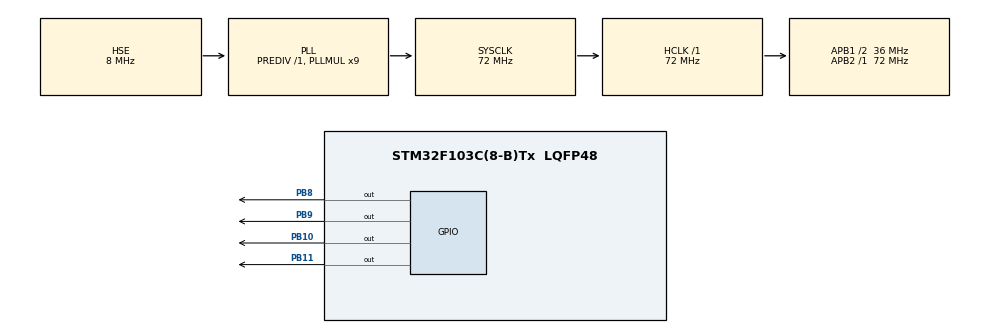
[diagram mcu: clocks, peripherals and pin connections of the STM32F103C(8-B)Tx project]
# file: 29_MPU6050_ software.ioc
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Mcu.Family=STM32F1
Mcu.Name=STM32F103C(8-B)Tx
Mcu.Package=LQFP48
NVIC.PriorityGroup=NVIC_PRIORITYGROUP_4
PA13.Mode=Serial_Wire
PA13.Signal=SYS_JTMS-SWDIO
PA14.Mode=Serial_Wire
PA14.Signal=SYS_JTCK-SWCLK
PB10.GPIO_ModeDefaultOutputPP=GPIO_MODE_OUTPUT_OD
PB10.GPIO_PuPd=GPIO_NOPULL
PB10.Signal=GPIO_Output
PB11.GPIO_ModeDefaultOutputPP=GPIO_MODE_OUTPUT_OD
PB11.GPIO_PuPd=GPIO_NOPULL
PB11.Signal=GPIO_Output
PB8.Signal=GPIO_Output
PB9.Signal=GPIO_Output
PD0-OSC_IN.Mode=HSE-External-Oscillator
PD0-OSC_IN.Signal=RCC_OSC_IN
PD1-OSC_OUT.Mode=HSE-External-Oscillator
PD1-OSC_OUT.Signal=RCC_OSC_OUT
ProjectManager.HeapSize=0x200
ProjectManager.StackSize=0x400
ProjectManager.TargetToolchain=MDK-ARM V5.32
RCC.AHBFreq_Value=72000000
RCC.APB1CLKDivider=RCC_HCLK_DIV2
RCC.APB1Freq_Value=36000000
RCC.APB1TimFreq_Value=72000000
RCC.APB2Freq_Value=72000000
RCC.APB2TimFreq_Value=72000000
RCC.HCLKFreq_Value=72000000
RCC.PLLMUL=RCC_PLL_MUL9
RCC.PLLSourceVirtual=RCC_PLLSOURCE_HSE
RCC.SYSCLKFreq_VALUE=72000000
RCC.SYSCLKSource=RCC_SYSCLKSOURCE_PLLCLK
RCC.USBFreq_Value=72000000
board=custom

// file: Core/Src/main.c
/* USER CODE BEGIN Header */
/**
 ******************************************************************************
 * @file           : main.c
 * @brief          : Main program body
 ******************************************************************************
 * @attention
 *
 * Copyright (c) 2026 STMicroelectronics.
 * All rights reserved.
 *
 * This software is licensed under terms that can be found in the LICENSE file
 * in the root directory of this software component.
 * If no LICENSE file comes with this software, it is provided AS-IS.
 *
 ******************************************************************************
 */
/* USER CODE END Header */
#include "main.h"
#include "gpio.h"

/* USER CODE BEGIN Includes */
#include "MPU6050.h"
#include "OLED.h"
#include "MyI2C.h"

/* USER CODE END Includes */

void SystemClock_Config(void);

int main(void)
{

  /* MCU Configuration--------------------------------------------------------*/

  /* Reset of all peripherals, Initializes the Flash interface and the Systick. */
  HAL_Init();

  /* Configure the system clock */
  SystemClock_Config();

  /* Initialize all configured peripherals */
  MX_GPIO_Init();
  /* USER CODE BEGIN 2 */
  uint8_t ID;         // 定义一个变量用于存储MPU6050的ID值
  int16_t AX, AY, AZ; // 定义变量用于存储加速度数据
  int16_t GX, GY, GZ; // 定义变量用于存储陀螺仪数据
  OLED_Init();

  MyI2C_Start();                    // 发送起始信号
  MyI2C_SendByte(0xD0);             // 发送设备地址（写）
  uint8_t Ack = MyI2C_ReceiveAck(); // 接收ACK
  MyI2C_Stop();                     // 发送停止信号

  // 显示ACK值 当发送0XD0时，ACK应该为0，表示设备已正确响应 当发送0XD1时，ACK应该为1，表示设备未响应(0为写操作，1为读操作)
  OLED_ShowSignedNum(1, 1, Ack, 3);

  MPU6050_Init(); // 初始化MPU6050

  OLED_ShowString(1, 1, "MPU6050 ID:"); // 显示提示信息
  ID = MPU6050_GetID(); // 获取MPU6050的ID值
  OLED_ShowNum(1, 2, ID, 3); // 显示ID值

  /* USER CODE END 2 */

  /* Infinite loop */
  /* USER CODE BEGIN WHILE */
  while (1)
  {
    MPU6050_GetData(&AX, &AY, &AZ, &GX, &GY, &GZ); // 获取加速度和陀螺仪数据
    OLED_ShowSignedNum(2, 1, AX, 6); // 显示加速度X轴数据
    OLED_ShowSignedNum(3, 1, AY, 6); // 显示加速度Y轴数据
    OLED_ShowSignedNum(4, 1, AZ, 6); // 显示加速度Z轴数据
    OLED_ShowSignedNum(2, 8, GX, 6); // 显示陀螺仪X轴数据
    OLED_ShowSignedNum(3, 8, GY, 6); // 显示陀螺仪Y轴数据
    OLED_ShowSignedNum(4, 8, GZ, 6); // 显示陀螺仪Z轴数据
    HAL_Delay(500); // 延时500ms，控制数据刷新频率
    /* USER CODE END WHILE */

  }
}

void SystemClock_Config(void)
{
  RCC_OscInitTypeDef RCC_OscInitStruct = {0};
  RCC_ClkInitTypeDef RCC_ClkInitStruct = {0};

  /** Initializes the RCC Oscillators according to the specified parameters
   * in the RCC_OscInitTypeDef structure.
   */
  RCC_OscInitStruct.OscillatorType = RCC_OSCILLATORTYPE_HSE;
  RCC_OscInitStruct.HSEState = RCC_HSE_ON;
  RCC_OscInitStruct.HSEPredivValue = RCC_HSE_PREDIV_DIV1;
  RCC_OscInitStruct.HSIState = RCC_HSI_ON;
  RCC_OscInitStruct.PLL.PLLState = RCC_PLL_ON;
  RCC_OscInitStruct.PLL.PLLSource = RCC_PLLSOURCE_HSE;
  RCC_OscInitStruct.PLL.PLLMUL = RCC_PLL_MUL9;
  if (HAL_RCC_OscConfig(&RCC_OscInitStruct) != HAL_OK)
  {
    Error_Handler();
  }

  /** Initializes the CPU, AHB and APB buses clocks
   */
  RCC_ClkInitStruct.ClockType = RCC_CLOCKTYPE_HCLK | RCC_CLOCKTYPE_SYSCLK | RCC_CLOCKTYPE_PCLK1 | RCC_CLOCKTYPE_PCLK2;
  RCC_ClkInitStruct.SYSCLKSource = RCC_SYSCLKSOURCE_PLLCLK;
  RCC_ClkInitStruct.AHBCLKDivider = RCC_SYSCLK_DIV1;
  RCC_ClkInitStruct.APB1CLKDivider = RCC_HCLK_DIV2;
  RCC_ClkInitStruct.APB2CLKDivider = RCC_HCLK_DIV1;

  if (HAL_RCC_ClockConfig(&RCC_ClkInitStruct, FLASH_LATENCY_2) != HAL_OK)
  {
    Error_Handler();
  }
}

void Error_Handler(void)
{
  __disable_irq();
  while (1)
  {
  }
}
